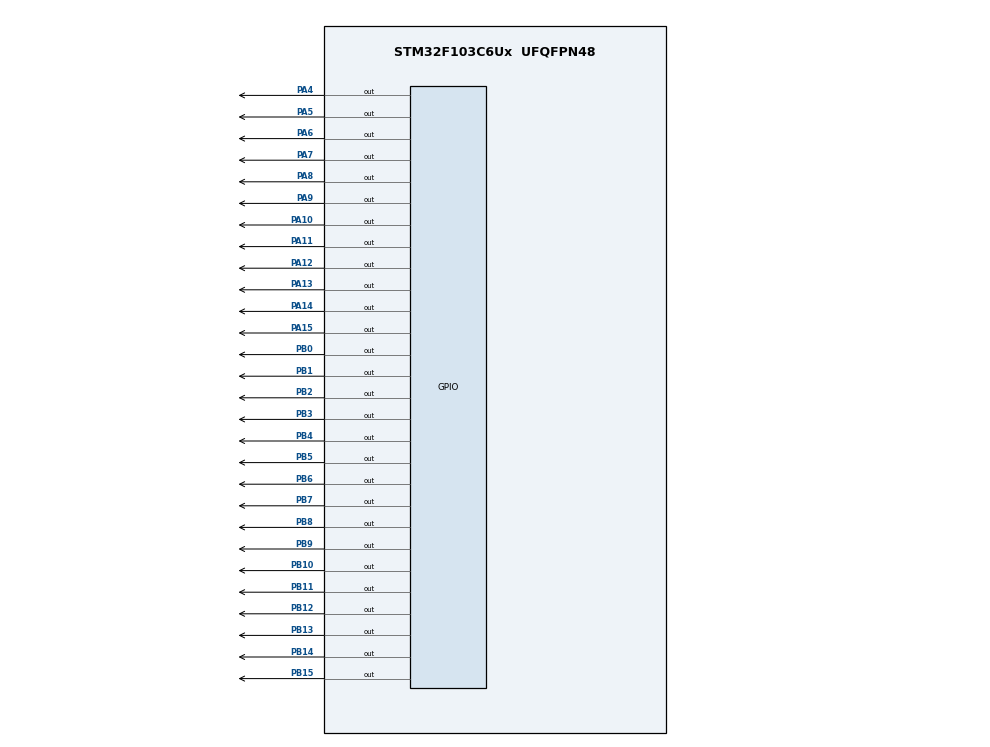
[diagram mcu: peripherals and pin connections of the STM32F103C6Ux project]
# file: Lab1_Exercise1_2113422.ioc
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Mcu.Family=STM32F1
Mcu.Name=STM32F103C6Ux
Mcu.Package=UFQFPN48
NVIC.PriorityGroup=NVIC_PRIORITYGROUP_4
PA10.Signal=GPIO_Output
PA11.Signal=GPIO_Output
PA12.Signal=GPIO_Output
PA13.Signal=GPIO_Output
PA14.Signal=GPIO_Output
PA15.Signal=GPIO_Output
PA4.Signal=GPIO_Output
PA5.Signal=GPIO_Output
PA6.Signal=GPIO_Output
PA7.Signal=GPIO_Output
PA8.Signal=GPIO_Output
PA9.Signal=GPIO_Output
PB0.Signal=GPIO_Output
PB1.Signal=GPIO_Output
PB10.Signal=GPIO_Output
PB11.Signal=GPIO_Output
PB12.Signal=GPIO_Output
PB13.Signal=GPIO_Output
PB14.Signal=GPIO_Output
PB15.Signal=GPIO_Output
PB2.Signal=GPIO_Output
PB3.Signal=GPIO_Output
PB4.Signal=GPIO_Output
PB5.Signal=GPIO_Output
PB6.Signal=GPIO_Output
PB7.Signal=GPIO_Output
PB8.Signal=GPIO_Output
PB9.Signal=GPIO_Output
ProjectManager.HeapSize=0x200
ProjectManager.StackSize=0x400
ProjectManager.TargetToolchain=STM32CubeIDE
RCC.APB1Freq_Value=8000000
RCC.APB2Freq_Value=8000000
VP_SYS_VS_ND.Mode=No_Debug
board=custom

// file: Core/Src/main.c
/* USER CODE BEGIN Header */
/**
  ******************************************************************************
  * @file           : main.c
  * @brief          : Main program body
  ******************************************************************************
  * @attention
  *
  * <h2><center>&copy; Copyright (c) 2023 STMicroelectronics.
  * All rights reserved.</center></h2>
  *
  * This software component is licensed by ST under BSD 3-Clause license,
  * the "License"; You may not use this file except in compliance with the
  * License. You may obtain a copy of the License at:
  *                        opensource.org/licenses/BSD-3-Clause
  *
  ******************************************************************************
  */
/* USER CODE END Header */
#include "main.h"

void SystemClock_Config(void);
static void MX_GPIO_Init(void);

/* USER CODE BEGIN 0 */
void display7SEG(int num);
/* USER CODE END 0 */

int main(void)
{

  /* MCU Configuration--------------------------------------------------------*/

  /* Reset of all peripherals, Initializes the Flash interface and the Systick. */
  HAL_Init();

  /* Configure the system clock */
  SystemClock_Config();

  /* Initialize all configured peripherals */
  MX_GPIO_Init();

  /* Infinite loop */
  /* USER CODE BEGIN WHILE */

#define LED_RED_TIME 5
#define LED_YELLOW_TIME 2
#define LED_GREEN_TIME 3
  int counter = 0;
  while (1)
  {
	  if( counter >= 10) counter = 0;
	  display7SEG(counter++);
	  HAL_Delay(1000) ;
    /* USER CODE END WHILE */

  }
}

void SystemClock_Config(void)
{
  RCC_OscInitTypeDef RCC_OscInitStruct = {0};
  RCC_ClkInitTypeDef RCC_ClkInitStruct = {0};

  /** Initializes the RCC Oscillators according to the specified parameters
  * in the RCC_OscInitTypeDef structure.
  */
  RCC_OscInitStruct.OscillatorType = RCC_OSCILLATORTYPE_HSI;
  RCC_OscInitStruct.HSIState = RCC_HSI_ON;
  RCC_OscInitStruct.HSICalibrationValue = RCC_HSICALIBRATION_DEFAULT;
  RCC_OscInitStruct.PLL.PLLState = RCC_PLL_NONE;
  if (HAL_RCC_OscConfig(&RCC_OscInitStruct) != HAL_OK)
  {
    Error_Handler();
  }
  /** Initializes the CPU, AHB and APB buses clocks
  */
  RCC_ClkInitStruct.ClockType = RCC_CLOCKTYPE_HCLK|RCC_CLOCKTYPE_SYSCLK
                              |RCC_CLOCKTYPE_PCLK1|RCC_CLOCKTYPE_PCLK2;
  RCC_ClkInitStruct.SYSCLKSource = RCC_SYSCLKSOURCE_HSI;
  RCC_ClkInitStruct.AHBCLKDivider = RCC_SYSCLK_DIV1;
  RCC_ClkInitStruct.APB1CLKDivider = RCC_HCLK_DIV1;
  RCC_ClkInitStruct.APB2CLKDivider = RCC_HCLK_DIV1;

  if (HAL_RCC_ClockConfig(&RCC_ClkInitStruct, FLASH_LATENCY_0) != HAL_OK)
  {
    Error_Handler();
  }
}

static void MX_GPIO_Init(void)
{
  GPIO_InitTypeDef GPIO_InitStruct = {0};

  /* GPIO Ports Clock Enable */
  __HAL_RCC_GPIOA_CLK_ENABLE();
  __HAL_RCC_GPIOB_CLK_ENABLE();

  /*Configure GPIO pin Output Level */
  HAL_GPIO_WritePin(GPIOA, GPIO_PIN_5|GPIO_PIN_6|GPIO_PIN_7|GPIO_PIN_8
                          |GPIO_PIN_9|GPIO_PIN_10, GPIO_PIN_RESET);

  /*Configure GPIO pin Output Level */
  HAL_GPIO_WritePin(GPIOB, GPIO_PIN_0|GPIO_PIN_1|GPIO_PIN_2|GPIO_PIN_3
                          |GPIO_PIN_4|GPIO_PIN_5|GPIO_PIN_6, GPIO_PIN_RESET);

  /*Configure GPIO pins : PA5 PA6 PA7 PA8
                           PA9 PA10 */
  GPIO_InitStruct.Pin = GPIO_PIN_5|GPIO_PIN_6|GPIO_PIN_7|GPIO_PIN_8
                          |GPIO_PIN_9|GPIO_PIN_10;
  GPIO_InitStruct.Mode = GPIO_MODE_OUTPUT_PP;
  GPIO_InitStruct.Pull = GPIO_NOPULL;
  GPIO_InitStruct.Speed = GPIO_SPEED_FREQ_LOW;
  HAL_GPIO_Init(GPIOA, &GPIO_InitStruct);

  /*Configure GPIO pins : PB0 PB1 PB2 PB3
                           PB4 PB5 PB6 */
  GPIO_InitStruct.Pin = GPIO_PIN_0|GPIO_PIN_1|GPIO_PIN_2|GPIO_PIN_3
                          |GPIO_PIN_4|GPIO_PIN_5|GPIO_PIN_6;
  GPIO_InitStruct.Mode = GPIO_MODE_OUTPUT_PP;
  GPIO_InitStruct.Pull = GPIO_NOPULL;
  GPIO_InitStruct.Speed = GPIO_SPEED_FREQ_LOW;
  HAL_GPIO_Init(GPIOB, &GPIO_InitStruct);

}

/* USER CODE BEGIN 4 */
void display7SEG(int num){
	switch(num){
	case 0:
		HAL_GPIO_WritePin(GPIOB, GPIO_PIN_0, RESET);
		HAL_GPIO_WritePin(GPIOB, GPIO_PIN_1, RESET);
		HAL_GPIO_WritePin(GPIOB, GPIO_PIN_2, RESET);
		HAL_GPIO_WritePin(GPIOB, GPIO_PIN_3, RESET);
		HAL_GPIO_WritePin(GPIOB, GPIO_PIN_4, RESET);
		HAL_GPIO_WritePin(GPIOB, GPIO_PIN_5, RESET);
		HAL_GPIO_WritePin(GPIOB, GPIO_PIN_6, SET);
		break;
	case 1:
		HAL_GPIO_WritePin(GPIOB, GPIO_PIN_0, SET);
		HAL_GPIO_WritePin(GPIOB, GPIO_PIN_1, RESET);
		HAL_GPIO_WritePin(GPIOB, GPIO_PIN_2, RESET);
		HAL_GPIO_WritePin(GPIOB, GPIO_PIN_3, SET);
		HAL_GPIO_WritePin(GPIOB, GPIO_PIN_4, SET);
		HAL_GPIO_WritePin(GPIOB, GPIO_PIN_5, SET);
		HAL_GPIO_WritePin(GPIOB, GPIO_PIN_6, SET);
		break;
	case 2:
		HAL_GPIO_WritePin(GPIOB, GPIO_PIN_0, RESET);
		HAL_GPIO_WritePin(GPIOB, GPIO_PIN_1, RESET);
		HAL_GPIO_WritePin(GPIOB, GPIO_PIN_2, SET);
		HAL_GPIO_WritePin(GPIOB, GPIO_PIN_3, RESET);
		HAL_GPIO_WritePin(GPIOB, GPIO_PIN_4, RESET);
		HAL_GPIO_WritePin(GPIOB, GPIO_PIN_5, SET);
		HAL_GPIO_WritePin(GPIOB, GPIO_PIN_6, RESET);
		break;
	case 3:
		HAL_GPIO_WritePin(GPIOB, GPIO_PIN_0, RESET);
		HAL_GPIO_WritePin(GPIOB, GPIO_PIN_1, RESET);
		HAL_GPIO_WritePin(GPIOB, GPIO_PIN_2, RESET);
		HAL_GPIO_WritePin(GPIOB, GPIO_PIN_3, RESET);
		HAL_GPIO_WritePin(GPIOB, GPIO_PIN_4, SET);
		HAL_GPIO_WritePin(GPIOB, GPIO_PIN_5, SET);
		HAL_GPIO_WritePin(GPIOB, GPIO_PIN_6, RESET);
		break;
	case 4:
		HAL_GPIO_WritePin(GPIOB, GPIO_PIN_0, SET);
		HAL_GPIO_WritePin(GPIOB, GPIO_PIN_1, RESET);
		HAL_GPIO_WritePin(GPIOB, GPIO_PIN_2, RESET);
		HAL_GPIO_WritePin(GPIOB, GPIO_PIN_3, SET);
		HAL_GPIO_WritePin(GPIOB, GPIO_PIN_4, SET);
		HAL_GPIO_WritePin(GPIOB, GPIO_PIN_5, RESET);
		HAL_GPIO_WritePin(GPIOB, GPIO_PIN_6, RESET);
		break;
	case 5:
		HAL_GPIO_WritePin(GPIOB, GPIO_PIN_0, RESET);
		HAL_GPIO_WritePin(GPIOB, GPIO_PIN_1, SET);
		HAL_GPIO_WritePin(GPIOB, GPIO_PIN_2, RESET);
		HAL_GPIO_WritePin(GPIOB, GPIO_PIN_3, RESET);
		HAL_GPIO_WritePin(GPIOB, GPIO_PIN_4, SET);
		HAL_GPIO_WritePin(GPIOB, GPIO_PIN_5, RESET);
		HAL_GPIO_WritePin(GPIOB, GPIO_PIN_6, RESET);
		break;
	case 6:
		HAL_GPIO_WritePin(GPIOB, GPIO_PIN_0, RESET);
		HAL_GPIO_WritePin(GPIOB, GPIO_PIN_1, SET);
		HAL_GPIO_WritePin(GPIOB, GPIO_PIN_2, RESET);
		HAL_GPIO_WritePin(GPIOB, GPIO_PIN_3, RESET);
		HAL_GPIO_WritePin(GPIOB, GPIO_PIN_4, RESET);
		HAL_GPIO_WritePin(GPIOB, GPIO_PIN_5, RESET);
		HAL_GPIO_WritePin(GPIOB, GPIO_PIN_6, RESET);
		break;
	case 7:
		HAL_GPIO_WritePin(GPIOB, GPIO_PIN_0, RESET);
		HAL_GPIO_WritePin(GPIOB, GPIO_PIN_1, RESET);
		HAL_GPIO_WritePin(GPIOB, GPIO_PIN_2, RESET);
		HAL_GPIO_WritePin(GPIOB, GPIO_PIN_3, SET);
		HAL_GPIO_WritePin(GPIOB, GPIO_PIN_4, SET);
		HAL_GPIO_WritePin(GPIOB, GPIO_PIN_5, SET);
		HAL_GPIO_WritePin(GPIOB, GPIO_PIN_6, SET);
		break;
	case 8:
		HAL_GPIO_WritePin(GPIOB, GPIO_PIN_0, RESET);
		HAL_GPIO_WritePin(GPIOB, GPIO_PIN_1, RESET);
		HAL_GPIO_WritePin(GPIOB, GPIO_PIN_2, RESET);
		HAL_GPIO_WritePin(GPIOB, GPIO_PIN_3, RESET);
		HAL_GPIO_WritePin(GPIOB, GPIO_PIN_4, RESET);
		HAL_GPIO_WritePin(GPIOB, GPIO_PIN_5, RESET);
		HAL_GPIO_WritePin(GPIOB, GPIO_PIN_6, RESET);
		break;
	case 9:
		HAL_GPIO_WritePin(GPIOB, GPIO_PIN_0, RESET);
		HAL_GPIO_WritePin(GPIOB, GPIO_PIN_1, RESET);
		HAL_GPIO_WritePin(GPIOB, GPIO_PIN_2, RESET);
		HAL_GPIO_WritePin(GPIOB, GPIO_PIN_3, RESET);
		HAL_GPIO_WritePin(GPIOB, GPIO_PIN_4, SET);
		HAL_GPIO_WritePin(GPIOB, GPIO_PIN_5, RESET);
		HAL_GPIO_WritePin(GPIOB, GPIO_PIN_6, RESET);
		break;
	}
}
/* USER CODE END 4 */

void Error_Handler(void)
{
  __disable_irq();
  while (1)
  {
  }
}

/************************ (C) COPYRIGHT STMicroelectronics *****END OF FILE****/
